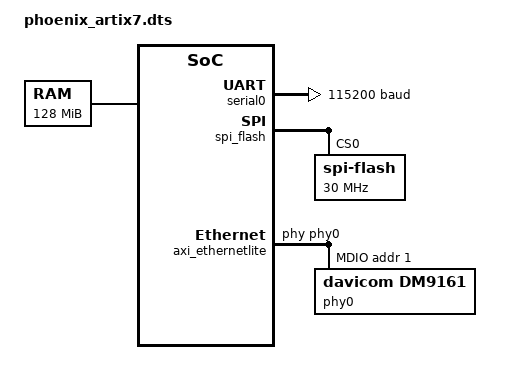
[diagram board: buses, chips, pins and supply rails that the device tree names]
/dts-v1/;

/ {
	#address-cells = <1>;
	#size-cells = <1>;
	compatible = "phoenix,artix7";

	cpus {
		#address-cells = <1>;
		#size-cells = <0>;
		cpu@0 {
			device_type = "cpu";
			compatible = "mips,m14Kc";
			clocks	= <&ext>;
			reg = <0>;
		};
	};

	ext: ext {
		compatible = "fixed-clock";
		#clock-cells = <0>;
	};
};

/ {
	compatible = "phoenix,artix7";

	/** this is the ddr3 ram */
	memory: memory@0 {
		device_type = "memory";
		reg = <0x0 0x8000000>;
	};

	cpuintc: interrupt-controller {
		#address-cells = <0>;
		#interrupt-cells = <1>;
		interrupt-controller;
		compatible = "mti,cpu-interrupt-controller";
	};

	aliases {
		console = &serial0;
                serial = &serial0;
		spi0 = &spi_flash;
                eth = &axi_ethernetlite;
	};

	serial0: serial@bfd00000 {
		compatible = "ns16550";
		reg = <0xbfd00000 0x1000>;
		// refer to doc/device-tree-bindings/serial/8250.txt
		// the start of the address offset
                reg-offset = <0>;
                reg-shift = <2>;
                clock-frequency = <50000000>;
                current-speed = <115200>;
		interrupts = <5>;
                interrupt-parent = <&cpuintc>;
	};
	rom: rom@bfc00000 {
		device-type = "rom";
		reg = <0xbfc00000 0x1000000>;
	};

 	spi_flash: spi@bff00000 {
                #address-cells = <1>;
                #size-cells = <0>;
 		compatible = "xlnx,xps-spi-2.00.a";
 		reg = <0xbff00000 0x1000000>;
 		fifo-size = <256>;
 		xlnx,spi-mode = <0>;
 
                 spi-flash@0 {
                     compatible = "spi-flash", "jedec,spi-nor";
                     reg = <0>;
		     //TODO: change SPI frequency
                     spi-max-frequency = <30000000>;
                 };
 	};

	axi_ethernetlite: ethernet@bfe00000 {
		compatible = "xlnx,xps-ethernetlite-1.00.a";
		device_type = "network";
		// interrupt_parent = <&cpuintc>;
		// interrupt = <3>;
		local-mac-address = [e6 c7 26 bf e2 94];
		phy-handle = <&phy0>;
		reg = <0xbfe00000 0x10000>;
		xlnx,duplex = <0x1>;
		xlnx,include-global-buffers = <0x1>;
		xlnx,include-internal-loopback = <0x0>;
		xlnx,include-mdio = <0x1>;
		xlnx,instance = "axi_ethernetlite_inst";
		xlnx,rx-ping-pong = <0x1>;
		xlnx,s-axi-id-width = <0x1>;
		xlnx,tx-ping-pong = <0x1>;
		xlnx,use-internal = <0x0>;
		mdio {
				#address-cells = <1>;
				#size-cells = <0>;
				phy0: phy@1 {
						compatible = "davicom, dm9161";
						device_type = "ethernet-phy";
						reg = <1>;
				} ;
		} ;
	};
};
